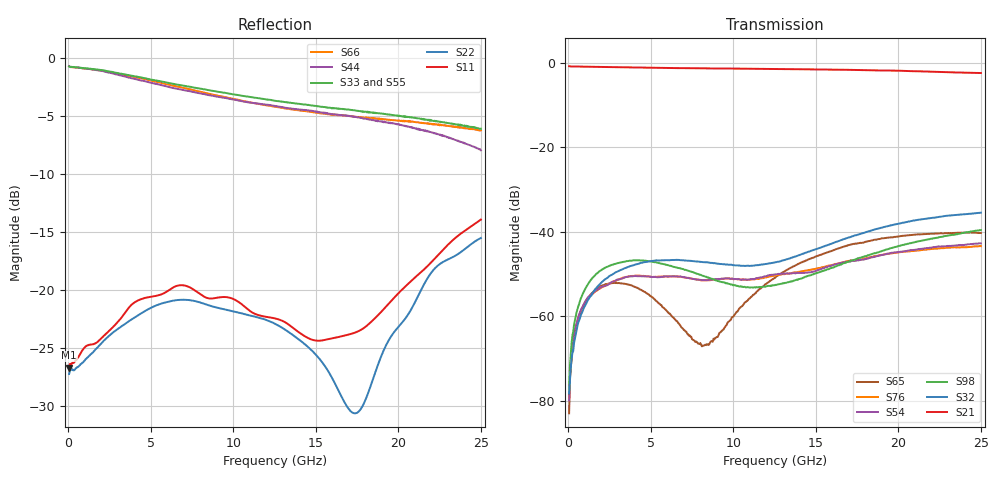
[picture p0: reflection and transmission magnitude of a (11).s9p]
! Device: ADRF5080
! Description: 20GHz Reflective SP8T Switch
! Frequency: 100 MHz – 20 GHz
! Ports:
! RFC = Port 1
! RF1 = Port 2
! RF2 = Port 3
! RF3 = Port 4
! RF4 = Port 5
! RF5 = Port 6
! RF6 = Port 7
! RF7 = Port 8
! RF8 = Port 9
! State: RF1 selected
! Supply Voltage:
! VDD  =  +3.30 Volts
! VSS  =  -3.30 Volts
! Control Voltages:
! V1  = 0V, V2  = 0V, V3  = 0V, LS = 0V, EN = 0V
! Temperature = +25 C
! Data: Data was collected using a calibrated network analyzer.
!  The reference plane is the package pins of ADRF5080 switch.
! Note: Analog Devices supplies this data as a sample of measured data for this product.
!  Your particular data for this product may vary.
!  Analog Devices reserves the right to change this data at anytime
# GHz S DB R 50
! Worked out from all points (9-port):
!   500 points, 50 MHz to 25 GHz, reference 50 ohm
!   strongest paths, dB at 50 MHz, 6.3 GHz, 12.55 GHz, 18.8 GHz, 25 GHz:
!     S21: -0.9, -1.3, -1.5, -1.9, -2.5
!     S32: -78.3, -46.7, -47.3, -39.3, -35.5
!     S98: -77.7, -48.3, -52.6, -44.9, -39.7
!     S54: -80.0, -50.6, -50.1, -45.8, -42.8
!     S76: -79.4, -50.6, -50.4, -45.7, -43.5
!     S65: -83.0, -60.2, -50.9, -41.8, -40.4
!   lowest |S11| = -26.7 dB at 50 MHz (marker M1), VSWR 1.10, Z = 54.8 - j0.188 ohm
!   |S11| at or under -10 dB: start of sweep to end of sweep
